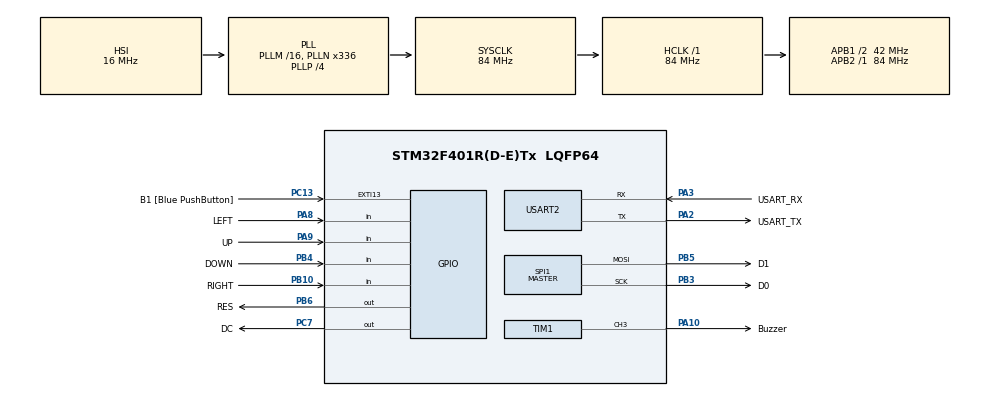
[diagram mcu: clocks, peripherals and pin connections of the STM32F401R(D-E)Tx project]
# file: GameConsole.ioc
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Mcu.Family=STM32F4
Mcu.Name=STM32F401R(D-E)Tx
Mcu.Package=LQFP64
NVIC.PriorityGroup=NVIC_PRIORITYGROUP_0
PA10.GPIO_Label=Buzzer
PA10.Signal=S_TIM1_CH3
PA13.GPIO_Label=TMS
PA13.Mode=Serial_Wire
PA13.Signal=SYS_JTMS-SWDIO
PA14.GPIO_Label=TCK
PA14.Mode=Serial_Wire
PA14.Signal=SYS_JTCK-SWCLK
PA2.GPIO_Label=USART_TX
PA2.GPIO_Mode=GPIO_MODE_AF_PP
PA2.GPIO_PuPd=GPIO_NOPULL
PA2.GPIO_Speed=GPIO_SPEED_FREQ_LOW
PA2.Mode=Asynchronous
PA2.Signal=USART2_TX
PA3.GPIO_Label=USART_RX
PA3.GPIO_Mode=GPIO_MODE_AF_PP
PA3.GPIO_PuPd=GPIO_NOPULL
PA3.GPIO_Speed=GPIO_SPEED_FREQ_LOW
PA3.Mode=Asynchronous
PA3.Signal=USART2_RX
PA8.GPIO_Label=LEFT
PA8.Signal=GPIO_Input
PA9.GPIO_Label=UP
PA9.Signal=GPIO_Input
PB10.GPIO_Label=RIGHT
PB10.Signal=GPIO_Input
PB3.GPIO_Label=D0
PB3.Mode=TX_Only_Simplex_Unidirect_Master
PB3.Signal=SPI1_SCK
PB4.GPIO_Label=DOWN
PB4.Signal=GPIO_Input
PB5.GPIO_Label=D1
PB5.Mode=TX_Only_Simplex_Unidirect_Master
PB5.Signal=SPI1_MOSI
PB6.GPIO_Label=RES
PB6.Signal=GPIO_Output
PC13-ANTI_TAMP.GPIO_Label=B1 [Blue PushButton]
PC13-ANTI_TAMP.GPIO_ModeDefaultEXTI=GPIO_MODE_IT_FALLING
PC13-ANTI_TAMP.GPIO_PuPd=GPIO_NOPULL
PC13-ANTI_TAMP.Signal=GPXTI13
PC14-OSC32_IN.Mode=LSE-External-Oscillator
PC14-OSC32_IN.Signal=RCC_OSC32_IN
PC15-OSC32_OUT.Mode=LSE-External-Oscillator
PC15-OSC32_OUT.Signal=RCC_OSC32_OUT
PC7.GPIO_Label=DC
PC7.Signal=GPIO_Output
PH0\ -\ OSC_IN.Mode=HSE-External-Clock-Source
PH0\ -\ OSC_IN.Signal=RCC_OSC_IN
PH1\ -\ OSC_OUT.Mode=HSE-External-Clock-Source
PH1\ -\ OSC_OUT.Signal=RCC_OSC_OUT
ProjectManager.HeapSize=0x200
ProjectManager.StackSize=0x400
ProjectManager.TargetToolchain=STM32CubeIDE
RCC.48MHZClocksFreq_Value=48000000
RCC.AHBFreq_Value=84000000
RCC.APB1CLKDivider=RCC_HCLK_DIV2
RCC.APB1Freq_Value=42000000
RCC.APB1TimFreq_Value=84000000
RCC.APB2Freq_Value=84000000
RCC.APB2TimFreq_Value=84000000
RCC.CortexFreq_Value=84000000
RCC.HCLKFreq_Value=84000000
RCC.HSE_VALUE=8000000
RCC.HSI_VALUE=16000000
RCC.PLLN=336
RCC.PLLP=RCC_PLLP_DIV4
RCC.PLLQ=7
RCC.SYSCLKFreq_VALUE=84000000
RCC.SYSCLKSource=RCC_SYSCLKSOURCE_PLLCLK
RCC.VCOOutputFreq_Value=336000000
SH.S_TIM1_CH3.0=TIM1_CH3,PWM Generation3 CH3
SPI1.BaudRatePrescaler=SPI_BAUDRATEPRESCALER_32
SPI1.Direction=SPI_DIRECTION_2LINES
SPI1.Mode=SPI_MODE_MASTER
SPI1.VirtualType=VM_MASTER
TIM1.AutoReloadPreload=TIM_AUTORELOAD_PRELOAD_ENABLE
TIM1.Channel-PWM\ Generation3\ CH3=TIM_CHANNEL_3
TIM1.Period=60000
TIM1.Prescaler=84-1
TIM1.Pulse-PWM\ Generation3\ CH3=3000
USART2.VirtualMode=VM_ASYNC
VP_TIM1_VS_ClockSourceINT.Mode=Internal
board=NUCLEO-F401RE

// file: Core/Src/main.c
/* USER CODE BEGIN Header */
/**
 ******************************************************************************
 * @file           : main.c
 * @brief          : Main program body
 ******************************************************************************
 * @attention
 *
 * Copyright (c) 2023 STMicroelectronics.
 * All rights reserved.
 *
 * This software is licensed under terms that can be found in the LICENSE file
 * in the root directory of this software component.
 * If no LICENSE file comes with this software, it is provided AS-IS.
 *
 ******************************************************************************
 */
/* USER CODE END Header */
#include "main.h"

/* USER CODE BEGIN Includes */
#include "frameBuffer.h"
#include "oled.h"
#include "game.h"
#include "buzzerDriver.h"
/* USER CODE END Includes */

SPI_HandleTypeDef hspi1;

TIM_HandleTypeDef htim1;

UART_HandleTypeDef huart2;

/* USER CODE BEGIN PV */

unsigned char *buffer; // buffer that holds the current frame

/* USER CODE END PV */

void SystemClock_Config(void);
static void MX_GPIO_Init(void);
static void MX_USART2_UART_Init(void);
static void MX_SPI1_Init(void);
static void MX_TIM1_Init(void);

int main(void) {

	/* MCU Configuration--------------------------------------------------------*/

	/* Reset of all peripherals, Initializes the Flash interface and the Systick. */
	HAL_Init();

	/* Configure the system clock */
	SystemClock_Config();

	/* Initialize all configured peripherals */
	MX_GPIO_Init();
	MX_USART2_UART_Init();
	MX_SPI1_Init();
	MX_TIM1_Init();
	/* USER CODE BEGIN 2 */
	HAL_TIM_PWM_Start(&htim1, TIM_CHANNEL_3);
	buzzerSetNewFrequency(0);
	buffer = malloc(buffer_size); // create the buffer
	FrameBuffer_clear(buffer);    // and clean the buffer
	FrameBuffer_drawRect(buffer, 0, 0, 127, 63, true, draw);
	FrameBuffer_drawRect(buffer, 15, 15, 50, 20, true, draw);
	FrameBuffer_addBitmapImage(buffer, 50, 30, 16, 16, &hearthFrame1, invert);
	/*int melodyCount = sizeof(melodySizes) / sizeof(uint32_t);

	 for (int melodyIndex = 0; melodyIndex < melodyCount; melodyIndex++) {
	 for (int noteIndex = 0; noteIndex < melodySizes[melodyIndex];
	 noteIndex++) {
	 buzzerSetNewFrequency(melody[melodyIndex][noteIndex]);
	 HAL_Delay(
	 noteDurations[melodyIndex][noteIndex]
	 * melodySlowfactor[melodyIndex]);

	 }
	 }
	 buzzerSetNewFrequency(0);*/
	InitOled(&hspi1);

	initGame(buffer);
	enterScreen();
	/* USER CODE END 2 */

	/* Infinite loop */
	/* USER CODE BEGIN WHILE */
	uint32_t gameTick = uwTickFreq + 10;
	uint32_t gameTimer = HAL_GetTick();
	while (1) {
		if (HAL_GetTick() - gameTimer > gameTick) {

			updateGame();
			sendBuffer(buffer);
			gameTimer = HAL_GetTick();

		}
		//HAL_Delay(10);
		musicHandler();
		/* USER CODE END WHILE */

	}
}

void SystemClock_Config(void) {
	RCC_OscInitTypeDef RCC_OscInitStruct = { 0 };
	RCC_ClkInitTypeDef RCC_ClkInitStruct = { 0 };

	/** Configure the main internal regulator output voltage
	 */
	__HAL_RCC_PWR_CLK_ENABLE();
	__HAL_PWR_VOLTAGESCALING_CONFIG(PWR_REGULATOR_VOLTAGE_SCALE2);

	/** Initializes the RCC Oscillators according to the specified parameters
	 * in the RCC_OscInitTypeDef structure.
	 */
	RCC_OscInitStruct.OscillatorType = RCC_OSCILLATORTYPE_HSI;
	RCC_OscInitStruct.HSIState = RCC_HSI_ON;
	RCC_OscInitStruct.HSICalibrationValue = RCC_HSICALIBRATION_DEFAULT;
	RCC_OscInitStruct.PLL.PLLState = RCC_PLL_ON;
	RCC_OscInitStruct.PLL.PLLSource = RCC_PLLSOURCE_HSI;
	RCC_OscInitStruct.PLL.PLLM = 16;
	RCC_OscInitStruct.PLL.PLLN = 336;
	RCC_OscInitStruct.PLL.PLLP = RCC_PLLP_DIV4;
	RCC_OscInitStruct.PLL.PLLQ = 7;
	if (HAL_RCC_OscConfig(&RCC_OscInitStruct) != HAL_OK) {
		Error_Handler();
	}

	/** Initializes the CPU, AHB and APB buses clocks
	 */
	RCC_ClkInitStruct.ClockType = RCC_CLOCKTYPE_HCLK | RCC_CLOCKTYPE_SYSCLK
			| RCC_CLOCKTYPE_PCLK1 | RCC_CLOCKTYPE_PCLK2;
	RCC_ClkInitStruct.SYSCLKSource = RCC_SYSCLKSOURCE_PLLCLK;
	RCC_ClkInitStruct.AHBCLKDivider = RCC_SYSCLK_DIV1;
	RCC_ClkInitStruct.APB1CLKDivider = RCC_HCLK_DIV2;
	RCC_ClkInitStruct.APB2CLKDivider = RCC_HCLK_DIV1;

	if (HAL_RCC_ClockConfig(&RCC_ClkInitStruct, FLASH_LATENCY_2) != HAL_OK) {
		Error_Handler();
	}
}

static void MX_SPI1_Init(void) {

	/* SPI1 parameter configuration*/
	hspi1.Instance = SPI1;
	hspi1.Init.Mode = SPI_MODE_MASTER;
	hspi1.Init.Direction = SPI_DIRECTION_2LINES;
	hspi1.Init.DataSize = SPI_DATASIZE_8BIT;
	hspi1.Init.CLKPolarity = SPI_POLARITY_LOW;
	hspi1.Init.CLKPhase = SPI_PHASE_1EDGE;
	hspi1.Init.NSS = SPI_NSS_SOFT;
	hspi1.Init.BaudRatePrescaler = SPI_BAUDRATEPRESCALER_32;
	hspi1.Init.FirstBit = SPI_FIRSTBIT_MSB;
	hspi1.Init.TIMode = SPI_TIMODE_DISABLE;
	hspi1.Init.CRCCalculation = SPI_CRCCALCULATION_DISABLE;
	hspi1.Init.CRCPolynomial = 10;
	if (HAL_SPI_Init(&hspi1) != HAL_OK) {
		Error_Handler();
	}

}

static void MX_TIM1_Init(void) {

	TIM_ClockConfigTypeDef sClockSourceConfig = { 0 };
	TIM_MasterConfigTypeDef sMasterConfig = { 0 };
	TIM_OC_InitTypeDef sConfigOC = { 0 };
	TIM_BreakDeadTimeConfigTypeDef sBreakDeadTimeConfig = { 0 };

	htim1.Instance = TIM1;
	htim1.Init.Prescaler = 84 - 1;
	htim1.Init.CounterMode = TIM_COUNTERMODE_UP;
	htim1.Init.Period = 60000;
	htim1.Init.ClockDivision = TIM_CLOCKDIVISION_DIV1;
	htim1.Init.RepetitionCounter = 0;
	htim1.Init.AutoReloadPreload = TIM_AUTORELOAD_PRELOAD_ENABLE;
	if (HAL_TIM_Base_Init(&htim1) != HAL_OK) {
		Error_Handler();
	}
	sClockSourceConfig.ClockSource = TIM_CLOCKSOURCE_INTERNAL;
	if (HAL_TIM_ConfigClockSource(&htim1, &sClockSourceConfig) != HAL_OK) {
		Error_Handler();
	}
	if (HAL_TIM_PWM_Init(&htim1) != HAL_OK) {
		Error_Handler();
	}
	sMasterConfig.MasterOutputTrigger = TIM_TRGO_RESET;
	sMasterConfig.MasterSlaveMode = TIM_MASTERSLAVEMODE_DISABLE;
	if (HAL_TIMEx_MasterConfigSynchronization(&htim1, &sMasterConfig)
			!= HAL_OK) {
		Error_Handler();
	}
	sConfigOC.OCMode = TIM_OCMODE_PWM1;
	sConfigOC.Pulse = 3000;
	sConfigOC.OCPolarity = TIM_OCPOLARITY_HIGH;
	sConfigOC.OCNPolarity = TIM_OCNPOLARITY_HIGH;
	sConfigOC.OCFastMode = TIM_OCFAST_DISABLE;
	sConfigOC.OCIdleState = TIM_OCIDLESTATE_RESET;
	sConfigOC.OCNIdleState = TIM_OCNIDLESTATE_RESET;
	if (HAL_TIM_PWM_ConfigChannel(&htim1, &sConfigOC, TIM_CHANNEL_3)
			!= HAL_OK) {
		Error_Handler();
	}
	sBreakDeadTimeConfig.OffStateRunMode = TIM_OSSR_DISABLE;
	sBreakDeadTimeConfig.OffStateIDLEMode = TIM_OSSI_DISABLE;
	sBreakDeadTimeConfig.LockLevel = TIM_LOCKLEVEL_OFF;
	sBreakDeadTimeConfig.DeadTime = 0;
	sBreakDeadTimeConfig.BreakState = TIM_BREAK_DISABLE;
	sBreakDeadTimeConfig.BreakPolarity = TIM_BREAKPOLARITY_HIGH;
	sBreakDeadTimeConfig.AutomaticOutput = TIM_AUTOMATICOUTPUT_DISABLE;
	if (HAL_TIMEx_ConfigBreakDeadTime(&htim1, &sBreakDeadTimeConfig)
			!= HAL_OK) {
		Error_Handler();
	}
	HAL_TIM_MspPostInit(&htim1);

}

static void MX_USART2_UART_Init(void) {

	huart2.Instance = USART2;
	huart2.Init.BaudRate = 115200;
	huart2.Init.WordLength = UART_WORDLENGTH_8B;
	huart2.Init.StopBits = UART_STOPBITS_1;
	huart2.Init.Parity = UART_PARITY_NONE;
	huart2.Init.Mode = UART_MODE_TX_RX;
	huart2.Init.HwFlowCtl = UART_HWCONTROL_NONE;
	huart2.Init.OverSampling = UART_OVERSAMPLING_16;
	if (HAL_UART_Init(&huart2) != HAL_OK) {
		Error_Handler();
	}

}

static void MX_GPIO_Init(void) {
	GPIO_InitTypeDef GPIO_InitStruct = { 0 };

	/* GPIO Ports Clock Enable */
	__HAL_RCC_GPIOC_CLK_ENABLE();
	__HAL_RCC_GPIOH_CLK_ENABLE();
	__HAL_RCC_GPIOA_CLK_ENABLE();
	__HAL_RCC_GPIOB_CLK_ENABLE();

	/*Configure GPIO pin Output Level */
	HAL_GPIO_WritePin(DC_GPIO_Port, DC_Pin, GPIO_PIN_RESET);

	/*Configure GPIO pin Output Level */
	HAL_GPIO_WritePin(RES_GPIO_Port, RES_Pin, GPIO_PIN_RESET);

	/*Configure GPIO pin : B1_Pin */
	GPIO_InitStruct.Pin = B1_Pin;
	GPIO_InitStruct.Mode = GPIO_MODE_IT_FALLING;
	GPIO_InitStruct.Pull = GPIO_NOPULL;
	HAL_GPIO_Init(B1_GPIO_Port, &GPIO_InitStruct);

	/*Configure GPIO pins : RIGHT_Pin DOWN_Pin */
	GPIO_InitStruct.Pin = RIGHT_Pin | DOWN_Pin;
	GPIO_InitStruct.Mode = GPIO_MODE_INPUT;
	GPIO_InitStruct.Pull = GPIO_NOPULL;
	HAL_GPIO_Init(GPIOB, &GPIO_InitStruct);

	/*Configure GPIO pin : DC_Pin */
	GPIO_InitStruct.Pin = DC_Pin;
	GPIO_InitStruct.Mode = GPIO_MODE_OUTPUT_PP;
	GPIO_InitStruct.Pull = GPIO_NOPULL;
	GPIO_InitStruct.Speed = GPIO_SPEED_FREQ_LOW;
	HAL_GPIO_Init(DC_GPIO_Port, &GPIO_InitStruct);

	/*Configure GPIO pins : LEFT_Pin UP_Pin */
	GPIO_InitStruct.Pin = LEFT_Pin | UP_Pin;
	GPIO_InitStruct.Mode = GPIO_MODE_INPUT;
	GPIO_InitStruct.Pull = GPIO_NOPULL;
	HAL_GPIO_Init(GPIOA, &GPIO_InitStruct);

	/*Configure GPIO pin : RES_Pin */
	GPIO_InitStruct.Pin = RES_Pin;
	GPIO_InitStruct.Mode = GPIO_MODE_OUTPUT_PP;
	GPIO_InitStruct.Pull = GPIO_NOPULL;
	GPIO_InitStruct.Speed = GPIO_SPEED_FREQ_LOW;
	HAL_GPIO_Init(RES_GPIO_Port, &GPIO_InitStruct);

}

void Error_Handler(void) {
	__disable_irq();
	while (1) {
	}
}
